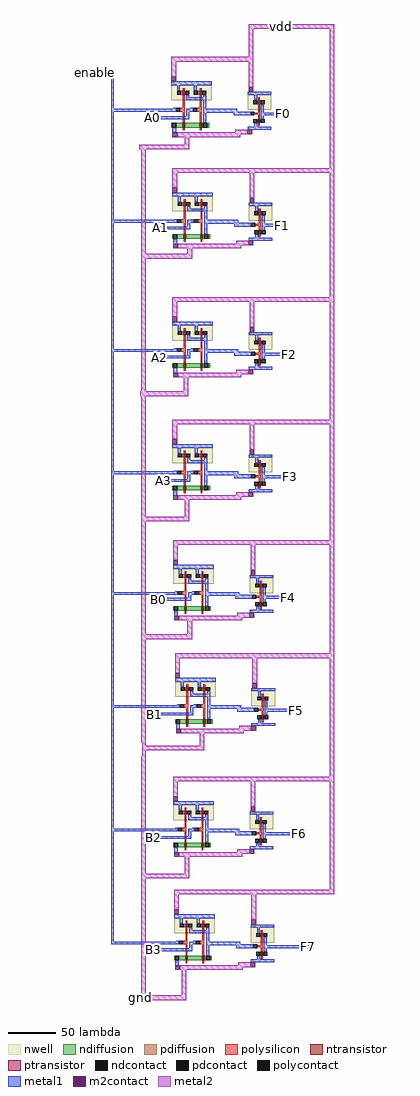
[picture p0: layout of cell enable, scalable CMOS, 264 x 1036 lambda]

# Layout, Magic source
magic
tech scmos
<< metal1 >>
rect -89 66 -59 72
rect -62 30 -59 66
rect -62 27 3 30
rect -62 -88 -59 27
rect 18 22 21 30
rect 110 23 124 26
rect -23 19 21 22
rect -62 -91 4 -88
rect -62 -225 -59 -91
rect 19 -95 22 -88
rect 110 -95 122 -92
rect -15 -98 22 -95
rect -62 -228 4 -225
rect -62 -355 -59 -228
rect 19 -232 22 -225
rect 109 -232 130 -229
rect -14 -235 22 -232
rect -62 -358 4 -355
rect -62 -483 -59 -358
rect 19 -363 22 -355
rect 109 -362 131 -359
rect -9 -366 22 -363
rect -62 -486 6 -483
rect -62 -603 -59 -486
rect 20 -489 23 -483
rect -16 -492 23 -489
rect 108 -490 129 -487
rect -62 -606 7 -603
rect -62 -734 -59 -606
rect 22 -611 25 -603
rect 113 -610 139 -607
rect -20 -614 25 -611
rect -62 -737 5 -734
rect -62 -854 -59 -737
rect 20 -742 23 -734
rect 111 -741 141 -738
rect -23 -745 23 -742
rect -62 -857 3 -854
rect 21 -861 24 -854
rect 111 -861 153 -858
rect -22 -864 24 -861
<< metal2 >>
rect 84 115 175 120
rect 84 80 89 115
rect 16 -8 21 2
rect -32 -13 21 -8
rect -30 -124 -25 -13
rect 170 -33 175 115
rect 79 -38 175 -33
rect 19 -124 24 -113
rect -30 -129 24 -124
rect -30 -270 -25 -129
rect 170 -170 175 -38
rect 73 -175 175 -170
rect 15 -270 20 -250
rect -31 -275 20 -270
rect -30 -403 -25 -275
rect 170 -300 175 -175
rect 77 -305 175 -300
rect 16 -403 21 -380
rect -30 -408 21 -403
rect -30 -528 -25 -408
rect 170 -428 175 -305
rect 83 -433 175 -428
rect 19 -528 24 -508
rect -30 -533 24 -528
rect -30 -643 -25 -533
rect 170 -548 175 -433
rect 84 -553 175 -548
rect -29 -646 -25 -643
rect 32 -646 37 -628
rect -29 -651 37 -646
rect -29 -657 -25 -651
rect -30 -782 -25 -657
rect 170 -679 175 -553
rect 85 -684 175 -679
rect 16 -782 21 -759
rect -30 -787 21 -782
rect -30 -911 -25 -787
rect 170 -799 175 -684
rect 85 -804 175 -799
rect 13 -911 18 -879
rect -31 -916 18 -911
use AND  AND_0
transform 1 0 2 0 1 4
box -2 -4 111 81
use AND  AND_1
transform 1 0 3 0 1 -114
box -2 -4 111 81
use AND  AND_2
transform 1 0 3 0 1 -251
box -2 -4 111 81
use AND  AND_3
transform 1 0 3 0 1 -381
box -2 -4 111 81
use AND  AND_4
transform 1 0 4 0 1 -509
box -2 -4 111 81
use AND  AND_5
transform 1 0 6 0 1 -629
box -2 -4 111 81
use AND  AND_6
transform 1 0 4 0 1 -760
box -2 -4 111 81
use AND  AND_7
transform 1 0 5 0 1 -880
box -2 -4 111 81
<< labels >>
rlabel metal2 117 116 121 118 5 vdd
rlabel space -33 -914 -28 -913 1 gnd
rlabel metal1 -82 68 -78 70 1 enable
rlabel metal1 -20 20 -16 22 1 A0
rlabel metal1 -12 -97 -8 -95 1 A1
rlabel metal1 -11 -234 -10 -233 1 A2
rlabel metal1 -7 -365 -6 -364 1 A3
rlabel metal1 -12 -491 -11 -490 1 B0
rlabel metal1 -16 -613 -15 -612 1 B1
rlabel metal1 -18 -744 -17 -743 1 B2
rlabel metal1 -18 -863 -17 -862 1 B3
rlabel metal1 120 24 122 25 1 F0
rlabel metal1 119 -94 121 -93 1 F1
rlabel metal1 126 -231 128 -230 1 F2
rlabel metal1 127 -361 129 -360 1 F3
rlabel metal1 125 -489 127 -488 1 F4
rlabel metal1 134 -609 136 -608 1 F5
rlabel metal1 137 -740 139 -739 1 F6
rlabel metal1 147 -860 149 -859 1 F7
<< end >>

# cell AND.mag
magic
tech scmos
<< metal1 >>
rect -2 23 5 26
rect 16 23 23 26
rect 41 23 70 26
rect 41 22 82 23
rect 66 19 82 22
rect 106 19 111 22
rect 1 1 5 4
<< m2contact >>
rect 0 55 5 60
rect 82 44 87 49
rect 1 -4 6 1
rect 81 -1 86 4
<< metal2 >>
rect 0 76 87 81
rect 0 60 5 76
rect 82 49 87 76
rect 68 1 81 4
rect 6 -1 81 1
rect 6 -4 73 -1
use not  not_0
transform 1 0 90 0 1 24
box -9 -20 16 20
use NAND  NAND_0
transform 1 0 1 0 1 36
box -1 -36 44 19
<< labels >>
rlabel metal2 22 -2 26 -1 1 gnd
rlabel metal2 13 78 19 80 5 vdd
rlabel metal1 17 24 18 25 1 B
rlabel metal1 -1 24 1 25 3 A
rlabel metal1 107 20 109 21 7 out
<< end >>

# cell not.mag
magic
tech scmos
<< nwell >>
rect -9 1 16 17
<< ntransistor >>
rect 2 -13 4 -9
<< ptransistor >>
rect 2 7 4 11
<< ndiffusion >>
rect 1 -13 2 -9
rect 4 -13 5 -9
<< pdiffusion >>
rect 1 7 2 11
rect 4 7 5 11
<< ndcontact >>
rect -3 -13 1 -9
rect 5 -13 9 -9
<< pdcontact >>
rect -3 7 1 11
rect 5 7 9 11
<< polysilicon >>
rect 2 11 4 14
rect 2 -2 4 7
rect -2 -4 4 -2
rect 2 -9 4 -4
rect 2 -16 4 -13
<< polycontact >>
rect -6 -5 -2 -1
<< metal1 >>
rect -9 17 16 20
rect -2 11 1 17
rect -8 -5 -6 -1
rect 5 -2 8 7
rect 5 -5 16 -2
rect 5 -9 8 -5
rect -2 -17 1 -13
rect -9 -20 16 -17
<< labels >>
rlabel metal1 -5 18 -3 19 4 VDD
rlabel metal1 -8 -4 -7 -2 3 in
rlabel metal1 13 -4 15 -3 7 out
rlabel metal1 -2 -19 0 -18 1 gnd
<< end >>

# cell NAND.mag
magic
tech scmos
<< nwell >>
rect -1 -1 42 15
<< ntransistor >>
rect 11 -30 13 -25
rect 29 -30 31 -25
<< ptransistor >>
rect 11 5 13 9
rect 29 5 31 9
<< ndiffusion >>
rect -1 -30 0 -25
rect 4 -30 11 -25
rect 13 -30 29 -25
rect 31 -30 33 -25
rect 37 -30 39 -25
<< pdiffusion >>
rect 9 5 11 9
rect 13 5 14 9
rect 27 5 29 9
rect 31 5 32 9
<< ndcontact >>
rect 0 -30 4 -25
rect 33 -30 37 -25
<< pdcontact >>
rect 5 5 9 9
rect 14 5 18 9
rect 23 5 27 9
rect 32 5 36 9
<< polysilicon >>
rect 11 9 13 12
rect 29 9 31 12
rect 11 -9 13 5
rect 29 -9 31 5
rect 8 -13 13 -9
rect 26 -13 31 -9
rect 11 -25 13 -13
rect 29 -25 31 -13
rect 11 -33 13 -30
rect 29 -33 31 -30
<< polycontact >>
rect 4 -13 8 -9
rect 22 -13 26 -9
<< metal1 >>
rect -1 15 42 19
rect 5 9 8 15
rect 23 9 26 15
rect 15 2 18 5
rect 33 2 36 5
rect 15 -1 36 2
rect 1 -13 4 -9
rect 19 -13 22 -9
rect 33 -10 36 -1
rect 33 -14 44 -10
rect 33 -25 36 -14
rect 0 -36 4 -30
<< labels >>
rlabel metal1 2 -12 3 -10 3 A
rlabel metal1 20 -12 21 -10 1 B
rlabel metal1 0 16 3 18 4 vdd
rlabel metal1 39 -13 42 -11 7 out
rlabel metal1 1 -35 3 -33 2 gnd
<< end >>
